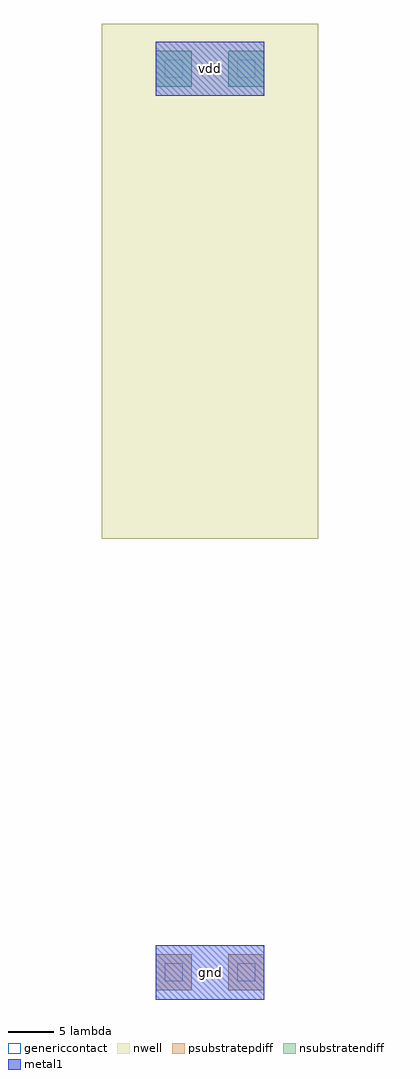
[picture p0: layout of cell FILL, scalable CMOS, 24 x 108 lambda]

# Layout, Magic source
magic
tech scmos
<< nwell >>
rect -8 48 16 105
<< psubstratepdiff >>
rect -2 -2 2 2
rect 6 -2 10 2
<< nsubstratendiff >>
rect -2 98 2 102
rect 6 98 10 102
<< genericcontact >>
rect -1 99 1 101
rect 7 99 9 101
rect -1 -1 1 1
rect 7 -1 9 1
<< metal1 >>
rect -2 97 10 103
rect -2 -3 10 3
<< labels >>
rlabel metal1 4 100 4 100 6 vdd
rlabel metal1 4 0 4 0 8 gnd
<< end >>
